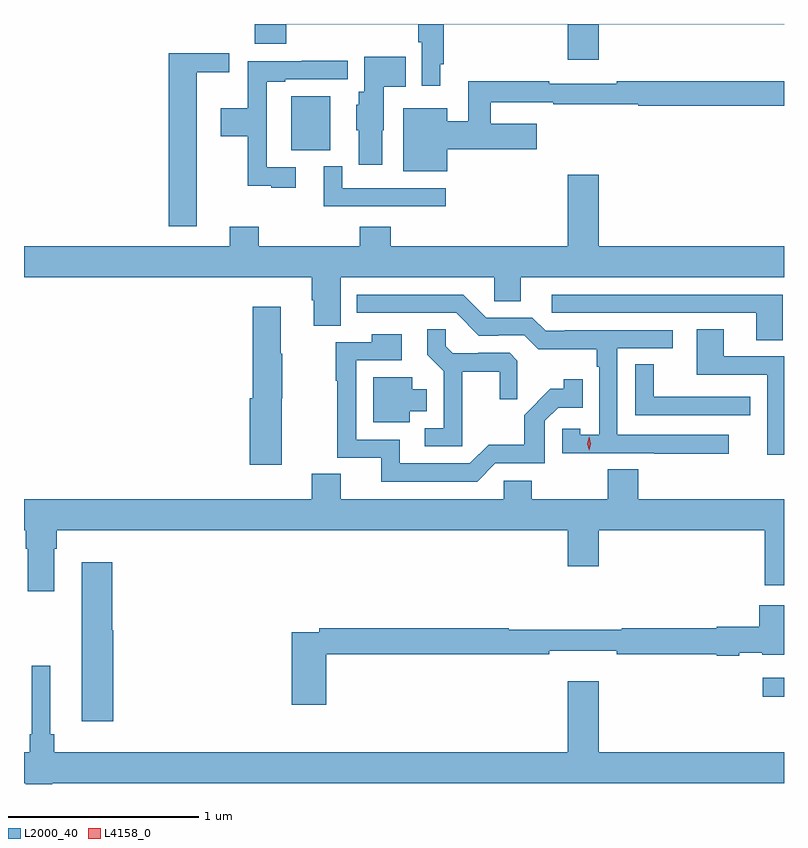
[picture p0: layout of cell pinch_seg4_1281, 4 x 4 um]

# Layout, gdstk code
import gdstk
lib = gdstk.Library(unit=1e-6, precision=1e-09)
def R(c, l, rs):  # rectangles x0, y0, x1, y1
    for r in rs: c.add(gdstk.rectangle(r[:2], r[2:], *l))
def P(c, l, *ps):  # polygons
    for p in ps: c.add(gdstk.Polygon(p, *l))
L2000_40 = (2000, 40)
L4158_0 = (4158, 0)

pinch_seg4_1281 = lib.new_cell('pinch_seg4_1281')
R(pinch_seg4_1281, L2000_40, [(357.843,783.955,357.955,784.056), (355.361,786.833,355.567,787.117)])
P(pinch_seg4_1281, L2000_40, [(353.955,787.496),(355.169,787.496),(355.169,787.394),(355.334,787.394),(355.334,787.496),(356.029,787.496),(356.029,787.4),(356.049,787.4),(356.049,787.173),(356.146,787.173),(356.146,787.285),(356.165,787.285),(356.165,787.496),(356.816,787.496),(356.816,787.308),(356.98,787.308),(356.98,787.496),(357.955,787.496),(357.955,787.497),(353.955,787.497)],
  [(354.865,787.244),(355.036,787.244),(355.036,787.342),(354.716,787.342),(354.716,786.432),(354.865,786.432)],
  [(355.84,786.939),(355.849,786.939),(355.849,787.166),(355.964,787.166),(355.964,787.324),(355.745,787.324),(355.745,787.14),(355.718,787.14),(355.718,787.071),(355.703,787.071),(355.703,786.939),(355.718,786.939),(355.718,786.756),(355.84,786.756)],
  [(355.384,786.744),(355.233,786.744),(355.233,787.194),(355.33,787.194),(355.33,787.206),(355.66,787.206),(355.66,787.304),(355.417,787.304),(355.417,787.302),(355.132,787.302),(355.132,787.054),(354.99,787.054),(354.99,786.907),(355.132,786.907),(355.132,786.647),(355.256,786.647),(355.256,786.636),(355.384,786.636)],
  [(356.182,786.839),(356.653,786.839),(356.653,786.973),(356.411,786.973),(356.411,787.086),(356.74,787.086),(356.74,787.074),(357.188,787.074),(357.188,787.066),(357.955,787.066),(357.955,787.195),(357.076,787.195),(357.076,787.182),(356.72,787.182),(356.72,787.195),(356.294,787.195),(356.294,786.986),(356.182,786.986),(356.182,787.054),(355.952,787.054),(355.952,786.722),(356.182,786.722)],
  [(356.176,786.633),(355.629,786.633),(355.629,786.748),(355.532,786.748),(355.532,786.537),(356.176,786.537)],
  [(355.621,786.164),(356.43,786.164),(356.43,786.037),(356.569,786.037),(356.569,786.164),(357.955,786.164),(357.955,786.328),(356.98,786.328),(356.98,786.703),(356.816,786.703),(356.816,786.328),(355.886,786.328),(355.886,786.43),(355.721,786.43),(355.721,786.328),(355.19,786.328),(355.19,786.43),(355.037,786.43),(355.037,786.328),(353.955,786.328),(353.955,786.164),(355.469,786.164),(355.469,786.042),(355.481,786.042),(355.481,785.908),(355.621,785.908)],
  [(357.949,786.072),(356.733,786.072),(356.733,785.976),(357.809,785.976),(357.809,785.833),(357.949,785.833)],
  [(357.664,785.334),(357.078,785.334),(357.078,785.79),(357.37,785.79),(357.37,785.886),(356.8,785.886),(356.8,785.883),(356.7,785.883),(356.631,785.952),(356.388,785.952),(356.268,786.072),(355.706,786.072),(355.706,785.976),(356.229,785.976),(356.349,785.856),(356.45,785.856),(356.45,785.859),(356.589,785.859),(356.662,785.786),(356.97,785.786),(356.97,785.693),(356.982,785.693),(356.982,785.335),(356.883,785.335),(356.883,785.367),(356.787,785.367),(356.787,785.238),(357.271,785.238),(357.271,785.236),(357.664,785.236)],
  [(355.312,785.526),(355.314,785.526),(355.314,785.762),(355.306,785.762),(355.306,786.01),(355.16,786.01),(355.16,785.526),(355.142,785.526),(355.142,785.178),(355.312,785.178)],
  [(356.261,785.666),(356.458,785.666),(356.458,785.523),(356.552,785.523),(356.552,785.725),(356.511,785.766),(356.346,785.766),(356.346,785.763),(356.212,785.763),(356.175,785.8),(356.175,785.891),(356.077,785.891),(356.077,785.755),(356.163,785.669),(356.163,785.37),(356.064,785.37),(356.064,785.274),(356.261,785.274)],
  [(357.955,785.748),(357.637,785.748),(357.637,785.891),(357.497,785.891),(357.497,785.652),(357.867,785.652),(357.867,785.229),(357.955,785.229)],
  [(356.436,785.184),(356.697,785.184),(356.697,785.409),(356.766,785.478),(356.897,785.478),(356.897,785.626),(356.796,785.626),(356.796,785.576),(356.726,785.576),(356.589,785.438),(356.589,785.283),(356.4,785.283),(356.301,785.184),(355.933,785.184),(355.933,785.31),(355.704,785.31),(355.704,785.727),(355.942,785.727),(355.942,785.863),(355.786,785.863),(355.786,785.823),(355.596,785.823),(355.596,785.62),(355.603,785.62),(355.603,785.214),(355.835,785.214),(355.835,785.088),(356.34,785.088)],
  [(357.778,785.534),(357.665,785.534),(357.665,785.535),(357.27,785.535),(357.27,785.705),(357.171,785.705),(357.171,785.439),(357.778,785.439)],
  [(355.984,785.459),(356.074,785.459),(356.074,785.575),(355.999,785.575),(355.999,785.638),(355.793,785.638),(355.793,785.402),(355.984,785.402)],
  [(354.115,784.736),(354.128,784.736),(354.128,784.832),(356.816,784.832),(356.816,784.644),(356.98,784.644),(356.98,784.832),(357.853,784.832),(357.853,784.542),(357.955,784.542),(357.955,784.996),(357.188,784.996),(357.188,785.153),(357.028,785.153),(357.028,784.996),(356.628,784.996),(356.628,785.094),(356.481,785.094),(356.481,784.996),(355.621,784.996),(355.621,785.129),(355.469,785.129),(355.469,784.996),(353.955,784.996),(353.955,784.832),(353.963,784.832),(353.963,784.736),(353.975,784.736),(353.975,784.512),(354.115,784.512)],
  [(354.424,784.305),(354.419,784.305),(354.419,784.663),(354.26,784.663),(354.26,783.828),(354.424,783.828)],
  [(355.547,784.18),(356.72,784.18),(356.72,784.199),(357.076,784.199),(357.076,784.18),(357.6,784.18),(357.6,784.172),(357.72,784.172),(357.72,784.187),(357.84,784.187),(357.84,784.178),(357.955,784.178),(357.955,784.438),(357.824,784.438),(357.824,784.324),(357.6,784.324),(357.6,784.316),(357.1,784.316),(357.1,784.309),(356.505,784.309),(356.505,784.316),(355.51,784.316),(355.51,784.296),(355.364,784.296),(355.364,783.915),(355.547,783.915)],
  [(354.103,783.5),(357.955,783.5),(357.955,783.664),(356.98,783.664),(356.98,784.039),(356.816,784.039),(356.816,783.664),(354.113,783.664),(354.113,783.76),(354.094,783.76),(354.094,784.12),(353.997,784.12),(353.997,783.76),(353.984,783.76),(353.984,783.664),(353.955,783.664),(353.955,783.5),(353.963,783.5),(353.963,783.497),(354.103,783.497)])
P(pinch_seg4_1281, L4158_0, [(356.93,785.253),(356.929,785.254),(356.92,785.289),(356.929,785.325),(356.93,785.325),(356.93,785.325),(356.939,785.289),(356.93,785.254)])

lib.write_gds('pinch_seg4_1281.gds')
